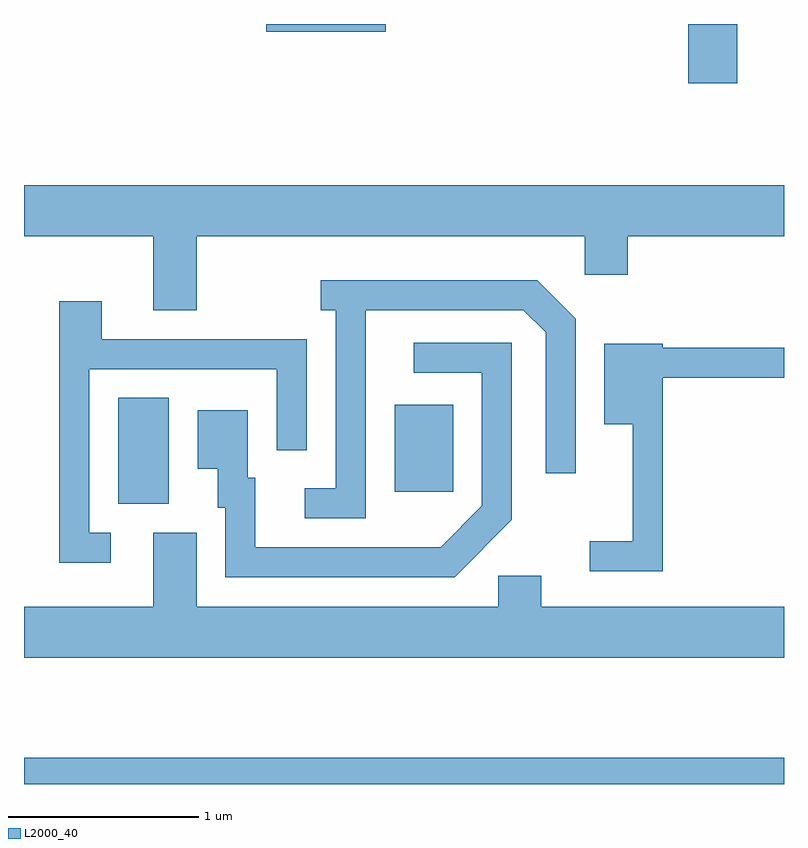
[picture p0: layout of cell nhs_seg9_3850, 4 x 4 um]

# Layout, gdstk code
import gdstk
lib = gdstk.Library(unit=1e-6, precision=1e-09)
def R(c, l, rs):  # rectangles x0, y0, x1, y1
    for r in rs: c.add(gdstk.rectangle(r[:2], r[2:], *l))
def P(c, l, *ps):  # polygons
    for p in ps: c.add(gdstk.Polygon(p, *l))
L2000_40 = (2000, 40)

nhs_seg9_3850 = lib.new_cell('nhs_seg9_3850')
R(nhs_seg9_3850, L2000_40, [(297.611,2044.432,301.611,2044.569), (298.106,2045.906,298.374,2046.464), (299.561,2045.971,299.869,2046.429), (301.106,2048.121,301.364,2048.432), (298.886,2048.391,299.514,2048.432)])
P(nhs_seg9_3850, L2000_40, [(298.519,2047.316),(300.561,2047.316),(300.561,2047.111),(300.789,2047.111),(300.789,2047.316),(301.611,2047.316),(301.611,2047.584),(297.611,2047.584),(297.611,2047.316),(298.291,2047.316),(298.291,2046.926),(298.519,2046.926)],
  [(299.409,2046.926),(300.239,2046.926),(300.356,2046.809),(300.356,2046.068),(300.514,2046.068),(300.514,2046.882),(300.312,2047.084),(299.173,2047.084),(299.173,2046.926),(299.251,2046.926),(299.251,2045.989),(299.088,2045.989),(299.088,2045.831),(299.409,2045.831)],
  [(298.068,2045.754),(297.954,2045.754),(297.954,2046.616),(298.941,2046.616),(298.941,2046.188),(299.099,2046.188),(299.099,2046.774),(298.019,2046.774),(298.019,2046.974),(297.796,2046.974),(297.796,2045.596),(298.068,2045.596)],
  [(300.179,2045.824),(300.179,2046.754),(299.663,2046.754),(299.663,2046.596),(300.021,2046.596),(300.021,2045.897),(299.804,2045.679),(298.829,2045.679),(298.829,2046.044),(298.789,2046.044),(298.789,2046.399),(298.526,2046.399),(298.526,2046.091),(298.631,2046.091),(298.631,2045.886),(298.671,2045.886),(298.671,2045.521),(299.877,2045.521)],
  [(300.974,2046.571),(301.611,2046.571),(301.611,2046.729),(300.974,2046.729),(300.974,2046.749),(300.666,2046.749),(300.666,2046.326),(300.816,2046.326),(300.816,2045.709),(300.588,2045.709),(300.588,2045.551),(300.974,2045.551)],
  [(301.611,2045.364),(300.334,2045.364),(300.334,2045.529),(300.106,2045.529),(300.106,2045.364),(298.519,2045.364),(298.519,2045.754),(298.291,2045.754),(298.291,2045.364),(297.611,2045.364),(297.611,2045.096),(301.611,2045.096)])

lib.write_gds('nhs_seg9_3850.gds')
